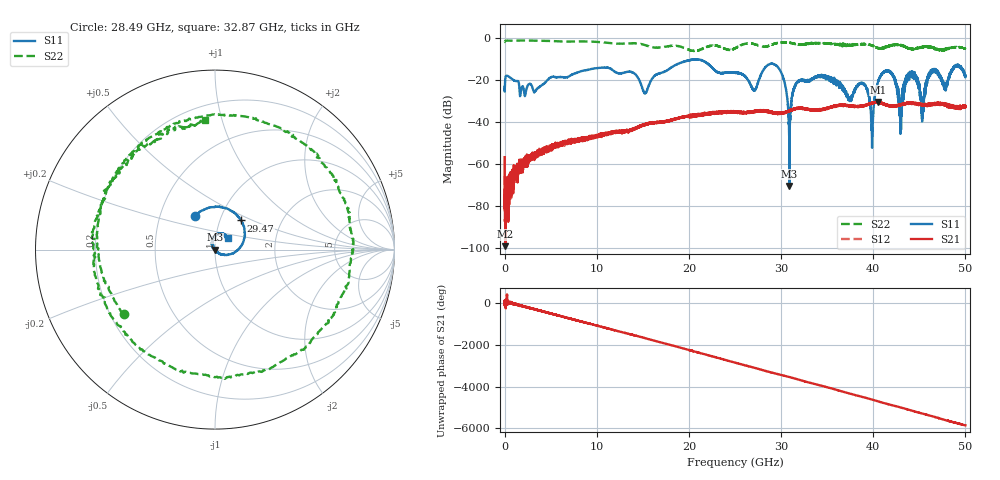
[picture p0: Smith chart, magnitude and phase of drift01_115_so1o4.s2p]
!Created with skrf (http://scikit-rf.org).
# Hz S RI R 50.0
!freq ReS11 ImS11 ReS21 ImS21 ReS12 ImS12 ReS22 ImS22
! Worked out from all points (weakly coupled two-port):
!   10001 points, 300 kHz to 50 GHz, reference 50 ohm
!   highest |S21| = -30.58 dB at 40.53 GHz (marker M1); lowest = -99.2 dB at 95.3 MHz (marker M2)
!   lowest |S11| = -70.6 dB at 30.9 GHz (marker M3), VSWR 1.00, Z = 50 - j0.0251 ohm
!   |S11| at or under -10 dB: start of sweep to end of sweep
!   |S22| runs from -6.4 to -1.4 dB; largest |S21 - S12| = 0.0041
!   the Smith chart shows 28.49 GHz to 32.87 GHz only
!   S11 on the Smith chart (normalised r, x): 28.49 GHz: 0.75, +0.29; 29.47 GHz: 1.26, +0.43; 32.87 GHz: 1.14, +0.15
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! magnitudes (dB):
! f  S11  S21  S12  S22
! 300 kHz  -23.4  -56.9  -66.0  -2.1
! 95.3 MHz  -18.8  -99.2  -82.6  -1.5
! 8.335 GHz  -16.0  -47.6  -48.3  -1.8
! 15.24 GHz  -26.5  -41.3  -41.4  -3.5
! 16.67 GHz  -17.1  -40.1  -40.3  -4.8
! 25 GHz  -16.7  -35.4  -35.4  -5.1
! 27.1 GHz  -25.3  -35.2  -35.1  -3.1
! 28.49 GHz  -13.3  -35.2  -35.0  -4.1
! 29.47 GHz  -13.2  -35.7  -35.9  -2.7
! 30.9 GHz  -70.6  -34.8  -34.7  -2.5
! 31.61 GHz  -22.0  -33.9  -33.8  -3.0
! 32.87 GHz  -20.3  -34.1  -34.1  -2.8
! 33.34 GHz  -19.8  -34.6  -34.1  -2.7
! 38.91 GHz  -22.0  -32.5  -32.6  -3.0
! 39.86 GHz  -45.8  -31.4  -31.1  -3.7
! 40.53 GHz  -20.9  -30.6  -31.0  -5.1
! 41.67 GHz  -15.8  -32.3  -32.3  -4.2
! 42.97 GHz  -45.8  -31.9  -31.9  -3.7
! 44.05 GHz  -17.7  -31.0  -31.2  -5.3
! 45.3 GHz  -37.3  -31.6  -31.9  -4.5
! 46.42 GHz  -15.4  -31.7  -31.9  -4.8
! 50 GHz  -18.0  -32.7  -32.8  -5.4
